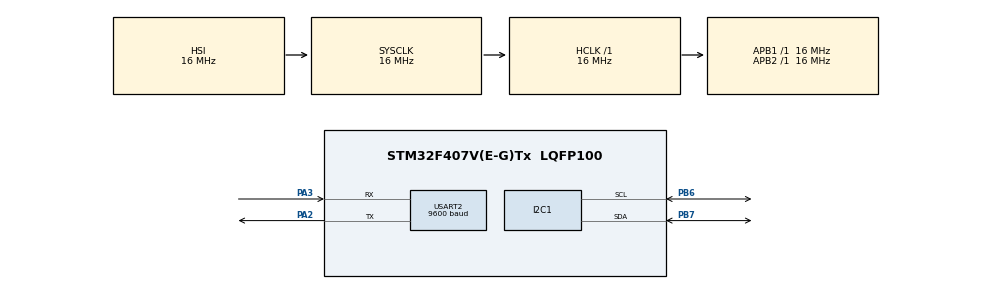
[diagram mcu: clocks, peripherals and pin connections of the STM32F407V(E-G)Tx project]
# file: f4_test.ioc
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Mcu.Family=STM32F4
Mcu.Name=STM32F407V(E-G)Tx
Mcu.Package=LQFP100
NVIC.PriorityGroup=NVIC_PRIORITYGROUP_4
PA2.Mode=Asynchronous
PA2.Signal=USART2_TX
PA3.Mode=Asynchronous
PA3.Signal=USART2_RX
PB6.Mode=I2C
PB6.Signal=I2C1_SCL
PB7.Mode=I2C
PB7.Signal=I2C1_SDA
PH0-OSC_IN.Mode=HSE-External-Oscillator
PH0-OSC_IN.Signal=RCC_OSC_IN
PH1-OSC_OUT.Mode=HSE-External-Oscillator
PH1-OSC_OUT.Signal=RCC_OSC_OUT
ProjectManager.HeapSize=0x200
ProjectManager.StackSize=0x400
ProjectManager.TargetToolchain=STM32CubeIDE
RCC.AHBFreq_Value=16000000
RCC.APB1Freq_Value=16000000
RCC.APB2Freq_Value=16000000
RCC.CortexFreq_Value=16000000
RCC.HSE_VALUE=25000000
RCC.HSI_VALUE=16000000
RCC.LSE_VALUE=32768
RCC.SYSCLKFreq_VALUE=16000000
RCC.VCOOutputFreq_Value=192000000
USART2.BaudRate=9600
USART2.VirtualMode=VM_ASYNC
board=custom

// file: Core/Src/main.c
/* USER CODE BEGIN Header */
/**
  ******************************************************************************
  * @file           : main.c
  * @brief          : Main program body
  ******************************************************************************
  * @attention
  *
  * <h2><center>&copy; Copyright (c) 2022 STMicroelectronics.
  * All rights reserved.</center></h2>
  *
  * This software component is licensed by ST under BSD 3-Clause license,
  * the "License"; You may not use this file except in compliance with the
  * License. You may obtain a copy of the License at:
  *                        opensource.org/licenses/BSD-3-Clause
  *
  ******************************************************************************
  */
/* USER CODE END Header */
#include "main.h"

I2C_HandleTypeDef hi2c1;

UART_HandleTypeDef huart2;

void SystemClock_Config(void);
static void MX_GPIO_Init(void);
static void MX_I2C1_Init(void);
static void MX_USART2_UART_Init(void);

int main(void)
{
  /* USER CODE BEGIN 1 */
	uint8_t Buffer[25] = {0};
	uint8_t Space[] = " - ";
	uint8_t StartMSG[] = "Starting I2C Scanning: \r\n";
	uint8_t EndMSG[] = "Done! \r\n\r\n";
  /* USER CODE END 1 */

  /* MCU Configuration--------------------------------------------------------*/

  /* Reset of all peripherals, Initializes the Flash interface and the Systick. */
  HAL_Init();

  /* Configure the system clock */
  SystemClock_Config();

  /* Initialize all configured peripherals */
  MX_GPIO_Init();
  MX_I2C1_Init();
  MX_USART2_UART_Init();
  /* USER CODE BEGIN 2 */
  uint8_t i = 0, ret;

    HAL_Delay(1000);

    /*-[ I2C Bus Scanning ]-*/
    HAL_UART_Transmit(&huart2, StartMSG, sizeof(StartMSG), 1000);
    for(i=1; i<128; i++)
    {
        ret = HAL_I2C_IsDeviceReady(&hi2c1, (uint16_t)(i<<1), 3, 0xFF);
  	  //ret = HAL_I2C_Master_Transmit(&hi2c1, 0x27 << 1 + 1, 0x00, 4, HAL_MAX_DELAY);
        if (ret != HAL_OK) /* No ACK Received At That Address */
        {
            HAL_UART_Transmit(&huart2, Space, sizeof(Space), 1000);
        }
        else if(ret == HAL_OK)
        {
            sprintf(Buffer, "0x%X", i);
            HAL_UART_Transmit(&huart2, Buffer, sizeof(Buffer), 1000);
        }
        HAL_Delay(1000);
    }
    HAL_UART_Transmit(&huart2, EndMSG, sizeof(EndMSG), 1000);
  /* USER CODE END 2 */

  /* Infinite loop */
  while (1)
  {

  }
}

void SystemClock_Config(void)
{
  RCC_OscInitTypeDef RCC_OscInitStruct = {0};
  RCC_ClkInitTypeDef RCC_ClkInitStruct = {0};

  /** Configure the main internal regulator output voltage
  */
  __HAL_RCC_PWR_CLK_ENABLE();
  __HAL_PWR_VOLTAGESCALING_CONFIG(PWR_REGULATOR_VOLTAGE_SCALE1);
  /** Initializes the RCC Oscillators according to the specified parameters
  * in the RCC_OscInitTypeDef structure.
  */
  RCC_OscInitStruct.OscillatorType = RCC_OSCILLATORTYPE_HSI;
  RCC_OscInitStruct.HSIState = RCC_HSI_ON;
  RCC_OscInitStruct.HSICalibrationValue = RCC_HSICALIBRATION_DEFAULT;
  RCC_OscInitStruct.PLL.PLLState = RCC_PLL_NONE;
  if (HAL_RCC_OscConfig(&RCC_OscInitStruct) != HAL_OK)
  {
    Error_Handler();
  }
  /** Initializes the CPU, AHB and APB buses clocks
  */
  RCC_ClkInitStruct.ClockType = RCC_CLOCKTYPE_HCLK|RCC_CLOCKTYPE_SYSCLK
                              |RCC_CLOCKTYPE_PCLK1|RCC_CLOCKTYPE_PCLK2;
  RCC_ClkInitStruct.SYSCLKSource = RCC_SYSCLKSOURCE_HSI;
  RCC_ClkInitStruct.AHBCLKDivider = RCC_SYSCLK_DIV1;
  RCC_ClkInitStruct.APB1CLKDivider = RCC_HCLK_DIV1;
  RCC_ClkInitStruct.APB2CLKDivider = RCC_HCLK_DIV1;

  if (HAL_RCC_ClockConfig(&RCC_ClkInitStruct, FLASH_LATENCY_0) != HAL_OK)
  {
    Error_Handler();
  }
}

static void MX_I2C1_Init(void)
{

  hi2c1.Instance = I2C1;
  hi2c1.Init.ClockSpeed = 100000;
  hi2c1.Init.DutyCycle = I2C_DUTYCYCLE_2;
  hi2c1.Init.OwnAddress1 = 0;
  hi2c1.Init.AddressingMode = I2C_ADDRESSINGMODE_7BIT;
  hi2c1.Init.DualAddressMode = I2C_DUALADDRESS_DISABLE;
  hi2c1.Init.OwnAddress2 = 0;
  hi2c1.Init.GeneralCallMode = I2C_GENERALCALL_DISABLE;
  hi2c1.Init.NoStretchMode = I2C_NOSTRETCH_DISABLE;
  if (HAL_I2C_Init(&hi2c1) != HAL_OK)
  {
    Error_Handler();
  }

}

static void MX_USART2_UART_Init(void)
{

  huart2.Instance = USART2;
  huart2.Init.BaudRate = 9600;
  huart2.Init.WordLength = UART_WORDLENGTH_8B;
  huart2.Init.StopBits = UART_STOPBITS_1;
  huart2.Init.Parity = UART_PARITY_NONE;
  huart2.Init.Mode = UART_MODE_TX_RX;
  huart2.Init.HwFlowCtl = UART_HWCONTROL_NONE;
  huart2.Init.OverSampling = UART_OVERSAMPLING_16;
  if (HAL_UART_Init(&huart2) != HAL_OK)
  {
    Error_Handler();
  }

}

static void MX_GPIO_Init(void)
{

  /* GPIO Ports Clock Enable */
  __HAL_RCC_GPIOH_CLK_ENABLE();
  __HAL_RCC_GPIOA_CLK_ENABLE();
  __HAL_RCC_GPIOB_CLK_ENABLE();

}

void Error_Handler(void)
{
  __disable_irq();
  while (1)
  {
  }
}

/************************ (C) COPYRIGHT STMicroelectronics *****END OF FILE****/
